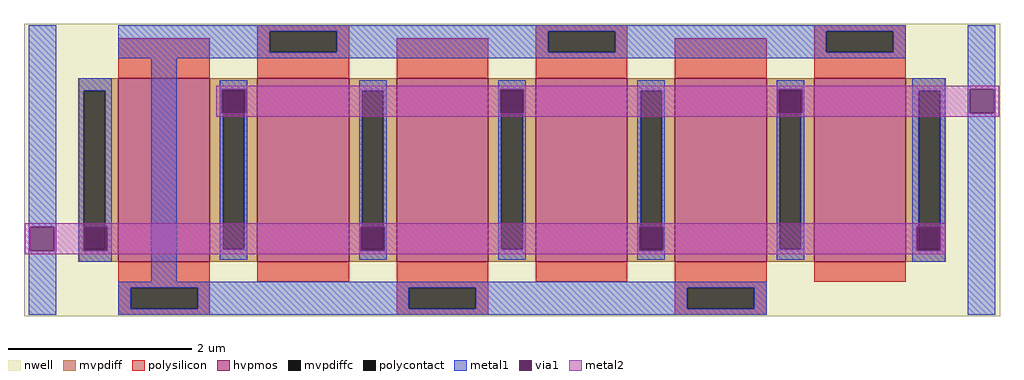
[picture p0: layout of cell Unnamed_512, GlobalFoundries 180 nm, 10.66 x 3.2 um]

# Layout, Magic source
magic
tech gf180mcuD
magscale 1 10
<< nwell >>
rect -192 -120 1940 520
<< hvpmos >>
rect 14 0 214 400
rect 318 0 518 400
rect 622 0 822 400
rect 926 0 1126 400
rect 1230 0 1430 400
rect 1534 0 1734 400
<< mvpdiff >>
rect -74 373 14 400
rect -74 27 -61 373
rect -15 27 14 373
rect -74 0 14 27
rect 214 373 318 400
rect 214 27 243 373
rect 289 27 318 373
rect 214 0 318 27
rect 518 373 622 400
rect 518 27 547 373
rect 593 27 622 373
rect 518 0 622 27
rect 822 373 926 400
rect 822 27 851 373
rect 897 27 926 373
rect 822 0 926 27
rect 1126 373 1230 400
rect 1126 27 1155 373
rect 1201 27 1230 373
rect 1126 0 1230 27
rect 1430 373 1534 400
rect 1430 27 1459 373
rect 1505 27 1534 373
rect 1430 0 1534 27
rect 1734 373 1822 400
rect 1734 27 1763 373
rect 1809 27 1822 373
rect 1734 0 1822 27
<< mvpdiffc >>
rect -61 27 -15 373
rect 243 27 289 373
rect 547 27 593 373
rect 851 27 897 373
rect 1155 27 1201 373
rect 1459 27 1505 373
rect 1763 27 1809 373
<< polysilicon >>
rect 318 503 518 516
rect 14 400 214 488
rect 318 457 345 503
rect 491 457 518 503
rect 926 503 1126 516
rect 318 400 518 457
rect 622 400 822 488
rect 926 457 953 503
rect 1099 457 1126 503
rect 1534 503 1734 516
rect 926 400 1126 457
rect 1230 400 1430 488
rect 1534 457 1561 503
rect 1707 457 1734 503
rect 1534 400 1734 457
rect 14 -57 214 0
rect 318 -44 518 0
rect 14 -103 41 -57
rect 187 -103 214 -57
rect 14 -116 214 -103
rect 622 -57 822 0
rect 926 -44 1126 0
rect 622 -103 649 -57
rect 795 -103 822 -57
rect 622 -116 822 -103
rect 1230 -57 1430 0
rect 1534 -44 1734 0
rect 1230 -103 1257 -57
rect 1403 -103 1430 -57
rect 1230 -116 1430 -103
<< polycontact >>
rect 345 457 491 503
rect 953 457 1099 503
rect 1561 457 1707 503
rect 41 -103 187 -57
rect 649 -103 795 -57
rect 1257 -103 1403 -57
<< metal1 >>
rect -182 76 -122 516
rect 14 503 1734 516
rect 14 457 345 503
rect 491 457 953 503
rect 1099 457 1561 503
rect 1707 457 1734 503
rect 14 444 1734 457
rect -182 24 -178 76
rect -126 24 -122 76
rect -182 -116 -122 24
rect -72 373 0 400
rect -72 76 -61 373
rect -15 76 0 373
rect -72 24 -62 76
rect -10 24 0 76
rect -72 0 0 24
rect 86 -44 142 444
rect 236 376 296 396
rect 236 324 240 376
rect 292 324 296 376
rect 236 27 243 324
rect 289 27 296 324
rect 236 4 296 27
rect 540 373 600 396
rect 540 76 547 373
rect 593 76 600 373
rect 540 24 544 76
rect 596 24 600 76
rect 540 4 600 24
rect 844 376 904 396
rect 844 324 848 376
rect 900 324 904 376
rect 844 27 851 324
rect 897 27 904 324
rect 844 4 904 27
rect 1148 373 1208 396
rect 1148 76 1155 373
rect 1201 76 1208 373
rect 1148 24 1152 76
rect 1204 24 1208 76
rect 1148 4 1208 24
rect 1452 376 1512 396
rect 1452 324 1456 376
rect 1508 324 1512 376
rect 1452 27 1459 324
rect 1505 27 1512 324
rect 1452 4 1512 27
rect 1748 373 1820 400
rect 1748 76 1763 373
rect 1809 76 1820 373
rect 1748 24 1758 76
rect 1810 24 1820 76
rect 1748 0 1820 24
rect 1870 376 1930 516
rect 1870 324 1874 376
rect 1926 324 1930 376
rect 14 -57 1430 -44
rect 14 -103 41 -57
rect 187 -103 649 -57
rect 795 -103 1257 -57
rect 1403 -103 1430 -57
rect 14 -116 1430 -103
rect 1870 -116 1930 324
<< via1 >>
rect -178 24 -126 76
rect -62 27 -61 76
rect -61 27 -15 76
rect -15 27 -10 76
rect -62 24 -10 27
rect 240 373 292 376
rect 240 324 243 373
rect 243 324 289 373
rect 289 324 292 373
rect 544 27 547 76
rect 547 27 593 76
rect 593 27 596 76
rect 544 24 596 27
rect 848 373 900 376
rect 848 324 851 373
rect 851 324 897 373
rect 897 324 900 373
rect 1152 27 1155 76
rect 1155 27 1201 76
rect 1201 27 1204 76
rect 1152 24 1204 27
rect 1456 373 1508 376
rect 1456 324 1459 373
rect 1459 324 1505 373
rect 1505 324 1508 373
rect 1758 27 1763 76
rect 1763 27 1809 76
rect 1809 27 1810 76
rect 1758 24 1810 27
rect 1874 324 1926 376
<< metal2 >>
rect 228 376 1938 384
rect 228 324 240 376
rect 292 324 848 376
rect 900 324 1456 376
rect 1508 324 1874 376
rect 1926 324 1938 376
rect 228 316 1938 324
rect -190 76 1822 84
rect -190 24 -178 76
rect -126 24 -62 76
rect -10 24 544 76
rect 596 24 1152 76
rect 1204 24 1758 76
rect 1810 24 1822 76
rect -190 16 1822 24
<< end >>
